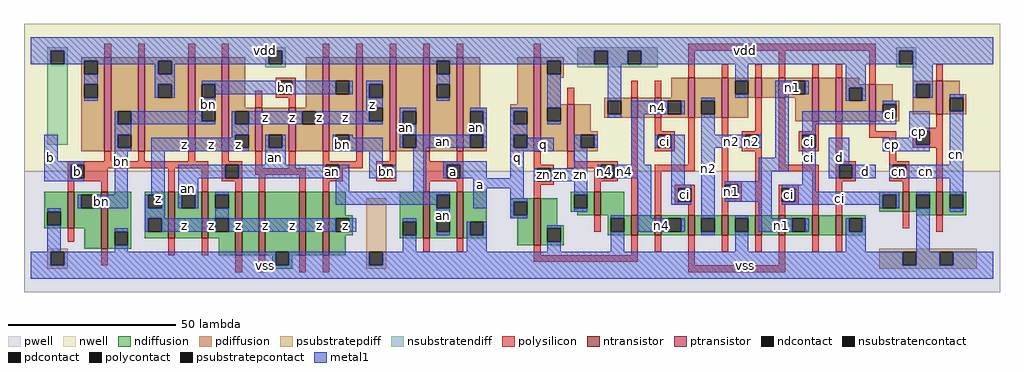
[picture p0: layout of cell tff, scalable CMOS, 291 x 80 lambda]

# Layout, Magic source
magic
tech scmos
<< pwell >>
rect -139 0 152 36
<< nwell >>
rect -139 36 152 80
<< polysilicon >>
rect -115 70 -113 74
rect -105 70 -103 74
rect -90 70 -88 74
rect -80 70 -78 74
rect -50 70 -48 74
rect -40 70 -38 74
rect -30 70 -28 74
rect -20 70 -18 74
rect -10 70 -8 74
rect 13 70 15 74
rect -64 63 -58 64
rect -70 55 -68 60
rect -64 59 -63 63
rect -59 59 -58 63
rect -64 58 -58 59
rect -60 55 -58 58
rect 59 72 115 74
rect 59 64 61 72
rect 69 64 71 68
rect 79 64 81 68
rect 86 64 88 72
rect 96 64 98 68
rect 103 64 105 68
rect 23 56 25 61
rect 42 58 44 63
rect 49 58 51 63
rect -115 39 -113 42
rect -105 39 -103 42
rect -90 39 -88 42
rect -80 39 -78 42
rect -126 38 -84 39
rect -126 34 -125 38
rect -121 37 -84 38
rect -121 34 -114 37
rect -126 33 -114 34
rect -126 30 -124 33
rect -116 30 -114 33
rect -96 30 -94 37
rect -86 30 -84 37
rect -80 38 -74 39
rect -80 34 -79 38
rect -75 34 -74 38
rect -70 37 -68 42
rect -60 37 -58 42
rect -50 39 -48 42
rect -40 39 -38 42
rect -30 39 -28 42
rect -50 38 -38 39
rect -70 35 -55 37
rect -80 33 -74 34
rect -76 30 -74 33
rect -69 30 -67 35
rect -57 30 -55 35
rect -50 34 -49 38
rect -45 37 -38 38
rect -34 38 -28 39
rect -45 34 -44 37
rect -50 33 -44 34
rect -34 34 -33 38
rect -29 34 -28 38
rect -34 33 -28 34
rect -20 39 -18 42
rect -10 39 -8 42
rect -20 38 -8 39
rect -20 34 -13 38
rect -9 34 -8 38
rect -20 33 -8 34
rect -50 30 -48 33
rect -20 30 -18 33
rect -10 30 -8 33
rect 13 38 15 42
rect 23 39 25 42
rect 23 38 38 39
rect 13 37 19 38
rect 23 37 33 38
rect 13 33 14 37
rect 18 33 19 37
rect 13 32 19 33
rect 31 34 33 37
rect 37 34 38 38
rect 31 33 38 34
rect -126 15 -124 19
rect -116 8 -114 13
rect -96 11 -94 16
rect -86 11 -84 16
rect -76 6 -74 11
rect -69 6 -67 11
rect 13 28 15 32
rect 31 30 33 33
rect -20 12 -18 16
rect -10 12 -8 16
rect 42 23 44 52
rect 49 48 51 52
rect 49 47 55 48
rect 49 43 50 47
rect 54 43 55 47
rect 49 42 55 43
rect 59 38 61 52
rect 49 36 61 38
rect 49 23 51 36
rect 69 33 71 52
rect 79 48 81 58
rect 75 47 81 48
rect 75 43 76 47
rect 80 43 81 47
rect 75 42 81 43
rect 69 32 75 33
rect 55 31 61 32
rect 55 27 56 31
rect 60 27 61 31
rect 55 26 61 27
rect 59 23 61 26
rect 69 28 70 32
rect 74 28 75 32
rect 69 27 75 28
rect 69 23 71 27
rect 79 23 81 42
rect 86 38 88 58
rect 113 62 115 72
rect 133 63 135 68
rect 96 48 98 51
rect 92 47 98 48
rect 92 43 93 47
rect 97 43 98 47
rect 92 42 98 43
rect 103 39 105 51
rect 113 48 115 51
rect 133 49 135 53
rect 126 48 135 49
rect 113 46 121 48
rect 119 39 121 46
rect 126 44 127 48
rect 131 44 135 48
rect 126 43 135 44
rect 103 38 109 39
rect 86 36 98 38
rect 86 31 92 32
rect 86 27 87 31
rect 91 27 92 31
rect 86 26 92 27
rect 86 23 88 26
rect 96 23 98 36
rect 103 34 104 38
rect 108 34 109 38
rect 103 33 109 34
rect 119 38 125 39
rect 119 34 120 38
rect 124 34 125 38
rect 119 33 125 34
rect 103 23 105 33
rect 123 30 125 33
rect 133 30 135 43
rect 31 18 33 23
rect 123 19 125 24
rect 133 18 135 23
rect -57 6 -55 11
rect -50 6 -48 11
rect 13 11 15 14
rect 42 11 44 17
rect 49 12 51 17
rect 13 9 44 11
rect 59 8 61 17
rect 69 12 71 17
rect 79 12 81 17
rect 86 8 88 17
rect 96 12 98 17
rect 103 12 105 17
rect 59 6 88 8
<< ndiffusion >>
rect -133 24 -126 30
rect -133 20 -132 24
rect -128 20 -126 24
rect -133 19 -126 20
rect -124 29 -116 30
rect -124 25 -122 29
rect -118 25 -116 29
rect -124 19 -116 25
rect -121 13 -116 19
rect -114 18 -107 30
rect -114 14 -112 18
rect -108 14 -107 18
rect -103 29 -96 30
rect -103 25 -102 29
rect -98 25 -96 29
rect -103 22 -96 25
rect -103 18 -102 22
rect -98 18 -96 22
rect -103 16 -96 18
rect -94 29 -86 30
rect -94 25 -92 29
rect -88 25 -86 29
rect -94 16 -86 25
rect -84 29 -76 30
rect -84 25 -82 29
rect -78 25 -76 29
rect -84 22 -76 25
rect -84 18 -82 22
rect -78 18 -76 22
rect -84 16 -76 18
rect -114 13 -107 14
rect -81 11 -76 16
rect -74 11 -69 30
rect -67 12 -57 30
rect -67 11 -64 12
rect -65 8 -64 11
rect -60 11 -57 12
rect -55 11 -50 30
rect -48 23 -43 30
rect -48 22 -41 23
rect -48 18 -46 22
rect -42 18 -41 22
rect -48 17 -41 18
rect -48 11 -43 17
rect -27 21 -20 30
rect -27 17 -26 21
rect -22 17 -20 21
rect -27 16 -20 17
rect -18 29 -10 30
rect -18 25 -16 29
rect -12 25 -10 29
rect -18 22 -10 25
rect -18 18 -16 22
rect -12 18 -10 22
rect -18 16 -10 18
rect -8 21 -1 30
rect 24 29 31 30
rect 6 27 13 28
rect 6 23 7 27
rect 11 23 13 27
rect 6 22 13 23
rect -8 17 -6 21
rect -2 17 -1 21
rect -8 16 -1 17
rect 8 14 13 22
rect 15 20 20 28
rect 24 25 25 29
rect 29 25 31 29
rect 24 24 31 25
rect 26 23 31 24
rect 33 23 40 30
rect 116 29 123 30
rect 116 25 117 29
rect 121 25 123 29
rect 116 24 123 25
rect 125 29 133 30
rect 125 25 127 29
rect 131 25 133 29
rect 125 24 133 25
rect 15 19 22 20
rect 15 15 17 19
rect 21 15 22 19
rect 35 22 42 23
rect 35 18 36 22
rect 40 18 42 22
rect 35 17 42 18
rect 44 17 49 23
rect 51 22 59 23
rect 51 18 53 22
rect 57 18 59 22
rect 51 17 59 18
rect 61 22 69 23
rect 61 18 63 22
rect 67 18 69 22
rect 61 17 69 18
rect 71 22 79 23
rect 71 18 73 22
rect 77 18 79 22
rect 71 17 79 18
rect 81 17 86 23
rect 88 22 96 23
rect 88 18 90 22
rect 94 18 96 22
rect 88 17 96 18
rect 98 17 103 23
rect 105 22 112 23
rect 105 18 107 22
rect 111 18 112 22
rect 127 23 133 24
rect 135 29 142 30
rect 135 25 137 29
rect 141 25 142 29
rect 135 23 142 25
rect 105 17 112 18
rect 15 14 22 15
rect -60 8 -59 11
rect -65 7 -59 8
<< pdiffusion >>
rect -122 69 -115 70
rect -122 65 -121 69
rect -117 65 -115 69
rect -122 62 -115 65
rect -122 58 -121 62
rect -117 58 -115 62
rect -122 42 -115 58
rect -113 54 -105 70
rect -113 50 -111 54
rect -107 50 -105 54
rect -113 47 -105 50
rect -113 43 -111 47
rect -107 43 -105 47
rect -113 42 -105 43
rect -103 69 -90 70
rect -103 65 -99 69
rect -95 65 -90 69
rect -103 62 -90 65
rect -103 58 -99 62
rect -95 58 -90 62
rect -103 42 -90 58
rect -88 62 -80 70
rect -88 58 -86 62
rect -82 58 -80 62
rect -88 55 -80 58
rect -88 51 -86 55
rect -82 51 -80 55
rect -88 42 -80 51
rect -78 55 -73 70
rect -55 55 -50 70
rect -78 54 -70 55
rect -78 50 -76 54
rect -72 50 -70 54
rect -78 47 -70 50
rect -78 43 -76 47
rect -72 43 -70 47
rect -78 42 -70 43
rect -68 47 -60 55
rect -68 43 -66 47
rect -62 43 -60 47
rect -68 42 -60 43
rect -58 54 -50 55
rect -58 50 -56 54
rect -52 50 -50 54
rect -58 42 -50 50
rect -48 63 -40 70
rect -48 59 -46 63
rect -42 59 -40 63
rect -48 47 -40 59
rect -48 43 -46 47
rect -42 43 -40 47
rect -48 42 -40 43
rect -38 62 -30 70
rect -38 58 -36 62
rect -32 58 -30 62
rect -38 55 -30 58
rect -38 51 -36 55
rect -32 51 -30 55
rect -38 42 -30 51
rect -28 54 -20 70
rect -28 50 -26 54
rect -22 50 -20 54
rect -28 47 -20 50
rect -28 43 -26 47
rect -22 43 -20 47
rect -28 42 -20 43
rect -18 69 -10 70
rect -18 65 -16 69
rect -12 65 -10 69
rect -18 62 -10 65
rect -18 58 -16 62
rect -12 58 -10 62
rect -18 42 -10 58
rect -8 55 -3 70
rect 8 56 13 70
rect -8 54 -1 55
rect -8 50 -6 54
rect -2 50 -1 54
rect -8 47 -1 50
rect -8 43 -6 47
rect -2 43 -1 47
rect -8 42 -1 43
rect 6 54 13 56
rect 6 50 7 54
rect 11 50 13 54
rect 6 47 13 50
rect 6 43 7 47
rect 11 43 13 47
rect 6 42 13 43
rect 15 69 22 70
rect 15 65 17 69
rect 21 65 22 69
rect 15 64 22 65
rect 15 56 21 64
rect 54 58 59 64
rect 34 57 42 58
rect 15 55 23 56
rect 15 51 17 55
rect 21 51 23 55
rect 15 42 23 51
rect 25 48 30 56
rect 34 53 35 57
rect 39 53 42 57
rect 34 52 42 53
rect 44 52 49 58
rect 51 57 59 58
rect 51 53 53 57
rect 57 53 59 57
rect 51 52 59 53
rect 61 57 69 64
rect 61 53 63 57
rect 67 53 69 57
rect 61 52 69 53
rect 71 63 79 64
rect 71 59 73 63
rect 77 59 79 63
rect 71 58 79 59
rect 81 58 86 64
rect 88 63 96 64
rect 88 59 90 63
rect 94 59 96 63
rect 88 58 96 59
rect 71 52 77 58
rect 25 47 32 48
rect 25 43 27 47
rect 31 43 32 47
rect 25 42 32 43
rect 91 51 96 58
rect 98 51 103 64
rect 105 62 110 64
rect 126 62 133 63
rect 105 61 113 62
rect 105 57 107 61
rect 111 57 113 61
rect 105 51 113 57
rect 115 57 120 62
rect 126 58 127 62
rect 131 58 133 62
rect 115 56 122 57
rect 115 52 117 56
rect 121 52 122 56
rect 126 53 133 58
rect 135 59 140 63
rect 135 58 142 59
rect 135 54 137 58
rect 141 54 142 58
rect 135 53 142 54
rect 115 51 122 52
<< metal1 >>
rect -137 72 150 76
rect -137 68 -131 72
rect -127 69 -66 72
rect -127 68 -121 69
rect -117 68 -99 69
rect -121 62 -117 65
rect -100 65 -99 68
rect -95 68 -66 69
rect -62 69 31 72
rect -62 68 -16 69
rect -95 65 -94 68
rect -100 62 -94 65
rect -12 68 17 69
rect -100 58 -99 62
rect -95 58 -94 62
rect -86 62 -63 63
rect -82 59 -63 62
rect -59 59 -46 63
rect -42 59 -41 63
rect -37 62 -32 63
rect -121 57 -117 58
rect -86 55 -82 58
rect -112 50 -111 54
rect -107 51 -86 54
rect -37 58 -36 62
rect -37 55 -32 58
rect -16 62 -12 65
rect -16 57 -12 58
rect 21 68 31 69
rect 35 68 41 72
rect 45 68 122 72
rect 126 68 150 72
rect 17 55 21 65
rect -37 54 -36 55
rect -107 50 -82 51
rect -77 50 -76 54
rect -72 50 -56 54
rect -52 51 -36 54
rect -52 50 -32 51
rect -27 54 -22 55
rect -27 50 -26 54
rect -112 47 -107 50
rect -133 39 -129 47
rect -112 43 -111 47
rect -77 47 -72 50
rect -27 47 -22 50
rect -6 54 -1 55
rect -2 50 -1 54
rect -6 47 -1 50
rect -77 46 -76 47
rect -112 42 -107 43
rect -101 43 -76 46
rect -101 42 -72 43
rect -67 43 -66 47
rect -62 43 -61 47
rect -133 38 -121 39
rect -133 34 -125 38
rect -133 33 -121 34
rect -112 29 -108 42
rect -101 29 -97 42
rect -67 38 -61 43
rect -47 43 -46 47
rect -42 46 -41 47
rect -42 43 -32 46
rect -27 43 -26 47
rect -22 43 -6 47
rect -2 43 -1 47
rect 6 54 11 55
rect 6 50 7 54
rect 35 57 39 68
rect 73 63 77 68
rect 73 58 77 59
rect 85 59 90 63
rect 94 59 95 63
rect 106 61 112 68
rect 63 57 67 58
rect 35 52 39 53
rect 42 53 53 57
rect 57 53 58 57
rect 17 50 21 51
rect 6 47 11 50
rect 6 43 7 47
rect 11 43 19 46
rect -47 42 -32 43
rect -36 38 -32 42
rect -123 25 -122 29
rect -118 25 -108 29
rect -103 25 -102 29
rect -98 25 -97 29
rect -93 34 -79 38
rect -75 34 -49 38
rect -45 34 -42 38
rect -36 34 -33 38
rect -29 34 -28 38
rect -93 29 -87 34
rect -46 30 -42 34
rect -23 30 -19 43
rect 6 42 19 43
rect 25 43 27 47
rect 31 43 32 47
rect -14 38 -1 39
rect -14 34 -13 38
rect -9 34 -1 38
rect 6 34 10 42
rect 25 37 29 43
rect 42 38 46 53
rect 63 47 67 53
rect 49 43 50 47
rect -5 31 10 34
rect 13 33 14 37
rect 18 33 29 37
rect 32 34 33 38
rect 37 34 48 38
rect -93 25 -92 29
rect -88 25 -87 29
rect -82 29 -78 30
rect -46 29 -12 30
rect -46 26 -16 29
rect -132 24 -128 25
rect -132 12 -128 20
rect -103 22 -97 25
rect -82 22 -78 25
rect -5 25 -1 31
rect 6 28 10 31
rect 25 29 29 33
rect 6 27 11 28
rect -16 22 -12 25
rect 6 23 7 27
rect 25 24 29 25
rect 6 22 11 23
rect 36 22 40 23
rect -112 18 -108 19
rect -103 18 -102 22
rect -98 18 -82 22
rect -78 18 -46 22
rect -42 18 -40 22
rect -26 21 -22 22
rect -112 12 -108 14
rect -16 17 -12 18
rect -7 17 -6 21
rect -2 17 -1 21
rect -26 12 -22 17
rect -7 12 -1 17
rect 17 19 21 20
rect 17 12 21 15
rect 44 22 48 34
rect 54 32 58 47
rect 63 43 76 47
rect 80 43 81 47
rect 54 31 60 32
rect 54 27 56 31
rect 54 26 60 27
rect 63 22 67 43
rect 85 40 89 59
rect 106 57 107 61
rect 111 57 112 61
rect 126 62 132 68
rect 126 58 127 62
rect 131 58 132 62
rect 137 58 141 59
rect 117 56 121 57
rect 80 36 89 40
rect 93 52 117 54
rect 93 50 121 52
rect 93 47 97 50
rect 125 48 131 54
rect 125 46 127 48
rect 80 33 84 36
rect 70 32 84 33
rect 93 32 97 43
rect 101 38 107 46
rect 117 44 127 46
rect 117 42 131 44
rect 137 38 141 54
rect 101 34 104 38
rect 108 34 115 38
rect 119 34 120 38
rect 124 34 141 38
rect 74 28 84 32
rect 70 27 84 28
rect 44 18 53 22
rect 57 18 58 22
rect 36 12 40 18
rect 63 17 67 18
rect 73 22 77 23
rect 80 22 84 27
rect 87 31 97 32
rect 91 30 97 31
rect 91 29 122 30
rect 91 27 117 29
rect 87 26 117 27
rect 116 25 117 26
rect 121 25 122 29
rect 127 29 131 30
rect 80 18 90 22
rect 94 18 95 22
rect 106 18 107 22
rect 111 18 112 22
rect 73 12 77 18
rect 106 12 112 18
rect 127 12 131 25
rect 137 29 141 34
rect 137 24 141 25
rect -137 8 -131 12
rect -127 8 -64 12
rect -60 8 -36 12
rect -32 8 123 12
rect 127 8 134 12
rect 138 8 150 12
rect -137 4 150 8
<< ntransistor >>
rect -126 19 -124 30
rect -116 13 -114 30
rect -96 16 -94 30
rect -86 16 -84 30
rect -76 11 -74 30
rect -69 11 -67 30
rect -57 11 -55 30
rect -50 11 -48 30
rect -20 16 -18 30
rect -10 16 -8 30
rect 13 14 15 28
rect 31 23 33 30
rect 123 24 125 30
rect 42 17 44 23
rect 49 17 51 23
rect 59 17 61 23
rect 69 17 71 23
rect 79 17 81 23
rect 86 17 88 23
rect 96 17 98 23
rect 103 17 105 23
rect 133 23 135 30
<< ptransistor >>
rect -115 42 -113 70
rect -105 42 -103 70
rect -90 42 -88 70
rect -80 42 -78 70
rect -70 42 -68 55
rect -60 42 -58 55
rect -50 42 -48 70
rect -40 42 -38 70
rect -30 42 -28 70
rect -20 42 -18 70
rect -10 42 -8 70
rect 13 42 15 70
rect 23 42 25 56
rect 42 52 44 58
rect 49 52 51 58
rect 59 52 61 64
rect 69 52 71 64
rect 79 58 81 64
rect 86 58 88 64
rect 96 51 98 64
rect 103 51 105 64
rect 113 51 115 62
rect 133 53 135 63
<< polycontact >>
rect -63 59 -59 63
rect -125 34 -121 38
rect -79 34 -75 38
rect -49 34 -45 38
rect -33 34 -29 38
rect -13 34 -9 38
rect 14 33 18 37
rect 33 34 37 38
rect 50 43 54 47
rect 76 43 80 47
rect 56 27 60 31
rect 70 28 74 32
rect 93 43 97 47
rect 127 44 131 48
rect 87 27 91 31
rect 104 34 108 38
rect 120 34 124 38
<< ndcontact >>
rect -132 20 -128 24
rect -122 25 -118 29
rect -112 14 -108 18
rect -102 25 -98 29
rect -102 18 -98 22
rect -92 25 -88 29
rect -82 25 -78 29
rect -82 18 -78 22
rect -64 8 -60 12
rect -46 18 -42 22
rect -26 17 -22 21
rect -16 25 -12 29
rect -16 18 -12 22
rect 7 23 11 27
rect -6 17 -2 21
rect 25 25 29 29
rect 117 25 121 29
rect 127 25 131 29
rect 17 15 21 19
rect 36 18 40 22
rect 53 18 57 22
rect 63 18 67 22
rect 73 18 77 22
rect 90 18 94 22
rect 107 18 111 22
rect 137 25 141 29
<< pdcontact >>
rect -121 65 -117 69
rect -121 58 -117 62
rect -111 50 -107 54
rect -111 43 -107 47
rect -99 65 -95 69
rect -99 58 -95 62
rect -86 58 -82 62
rect -86 51 -82 55
rect -76 50 -72 54
rect -76 43 -72 47
rect -66 43 -62 47
rect -56 50 -52 54
rect -46 59 -42 63
rect -46 43 -42 47
rect -36 58 -32 62
rect -36 51 -32 55
rect -26 50 -22 54
rect -26 43 -22 47
rect -16 65 -12 69
rect -16 58 -12 62
rect -6 50 -2 54
rect -6 43 -2 47
rect 7 50 11 54
rect 7 43 11 47
rect 17 65 21 69
rect 17 51 21 55
rect 35 53 39 57
rect 53 53 57 57
rect 63 53 67 57
rect 73 59 77 63
rect 90 59 94 63
rect 27 43 31 47
rect 107 57 111 61
rect 127 58 131 62
rect 117 52 121 56
rect 137 54 141 58
<< psubstratepcontact >>
rect -131 8 -127 12
rect -36 8 -32 12
rect 123 8 127 12
rect 134 8 138 12
<< nsubstratencontact >>
rect -131 68 -127 72
rect -66 68 -62 72
rect 31 68 35 72
rect 41 68 45 72
rect 122 68 126 72
<< psubstratepdiff >>
rect -132 12 -126 13
rect -132 8 -131 12
rect -127 8 -126 12
rect -132 7 -126 8
rect -37 12 -31 28
rect -37 8 -36 12
rect -32 8 -31 12
rect -37 7 -31 8
rect 116 12 145 13
rect 116 8 123 12
rect 127 8 134 12
rect 138 8 145 12
rect 116 7 145 8
<< nsubstratendiff >>
rect -132 72 -126 73
rect -132 68 -131 72
rect -127 68 -126 72
rect -67 72 -61 73
rect -132 44 -126 68
rect -67 68 -66 72
rect -62 68 -61 72
rect 26 72 50 73
rect -67 67 -61 68
rect 26 68 31 72
rect 35 68 41 72
rect 45 68 50 72
rect 26 67 50 68
rect 121 72 127 73
rect 121 68 122 72
rect 126 68 127 72
rect 121 67 127 68
<< labels >>
rlabel polycontact 16 35 16 35 6 zn
rlabel polycontact 34 36 34 36 6 n4
rlabel polycontact 58 29 58 29 6 ci
rlabel polycontact 52 45 52 45 6 ci
rlabel polycontact 72 30 72 30 6 n1
rlabel polycontact 89 29 89 29 6 ci
rlabel polycontact 95 45 95 45 6 ci
rlabel polycontact 78 45 78 45 6 n2
rlabel polycontact 122 36 122 36 6 cn
rlabel metal1 21 35 21 35 6 zn
rlabel metal1 27 35 27 35 6 zn
rlabel metal1 51 20 51 20 6 n4
rlabel polycontact 57 29 57 29 6 ci
rlabel metal1 40 36 40 36 6 n4
rlabel polycontact 53 45 53 45 6 ci
rlabel metal1 50 55 50 55 6 n4
rlabel metal1 76 8 76 8 6 vss
rlabel metal1 77 30 77 30 6 n1
rlabel metal1 72 45 72 45 6 n2
rlabel metal1 65 37 65 37 6 n2
rlabel metal1 76 72 76 72 6 vdd
rlabel metal1 87 20 87 20 6 n1
rlabel metal1 112 36 112 36 6 d
rlabel metal1 104 40 104 40 6 d
rlabel metal1 95 40 95 40 6 ci
rlabel metal1 90 61 90 61 6 n1
rlabel metal1 104 28 104 28 6 ci
rlabel metal1 130 36 130 36 6 cn
rlabel metal1 120 44 120 44 6 cp
rlabel metal1 128 48 128 48 6 cp
rlabel metal1 139 41 139 41 6 cn
rlabel pdcontact 119 53 119 53 6 ci
rlabel polycontact -47 36 -47 36 6 an
rlabel polycontact -61 61 -61 61 6 bn
rlabel polycontact -31 36 -31 36 6 bn
rlabel polycontact -123 36 -123 36 6 b
rlabel metal1 -131 40 -131 40 6 b
rlabel metal1 -91 20 -91 20 6 z
rlabel metal1 -116 27 -116 27 6 bn
rlabel ndcontact -99 28 -99 28 6 z
rlabel metal1 -90 31 -90 31 6 an
rlabel metal1 -91 44 -91 44 6 z
rlabel metal1 -110 39 -110 39 6 bn
rlabel metal1 -84 56 -84 56 6 bn
rlabel metal1 -67 8 -67 8 6 vss
rlabel metal1 -59 20 -59 20 6 z
rlabel metal1 -67 20 -67 20 6 z
rlabel metal1 -75 20 -75 20 6 z
rlabel metal1 -83 20 -83 20 6 z
rlabel metal1 -83 44 -83 44 6 z
rlabel pdcontact -75 44 -75 44 6 z
rlabel metal1 -64 40 -64 40 6 an
rlabel metal1 -59 52 -59 52 6 z
rlabel metal1 -67 52 -67 52 6 z
rlabel metal1 -67 72 -67 72 6 vdd
rlabel ndcontact -43 20 -43 20 6 z
rlabel metal1 -51 20 -51 20 6 z
rlabel metal1 -34 40 -34 40 6 bn
rlabel metal1 -68 36 -68 36 6 an
rlabel pdcontact -44 44 -44 44 6 bn
rlabel metal1 -51 52 -51 52 6 z
rlabel metal1 -35 56 -35 56 6 z
rlabel metal1 -43 52 -43 52 6 z
rlabel metal1 -64 61 -64 61 6 bn
rlabel metal1 -14 23 -14 23 6 an
rlabel polycontact -11 36 -11 36 6 a
rlabel metal1 -4 49 -4 49 6 an
rlabel metal1 -14 45 -14 45 6 an
rlabel metal1 -25 49 -25 49 6 an
rlabel metal1 -3 32 -3 32 6 a
rlabel metal1 8 40 8 40 1 q
rlabel metal1 16 44 16 44 1 q
<< end >>
